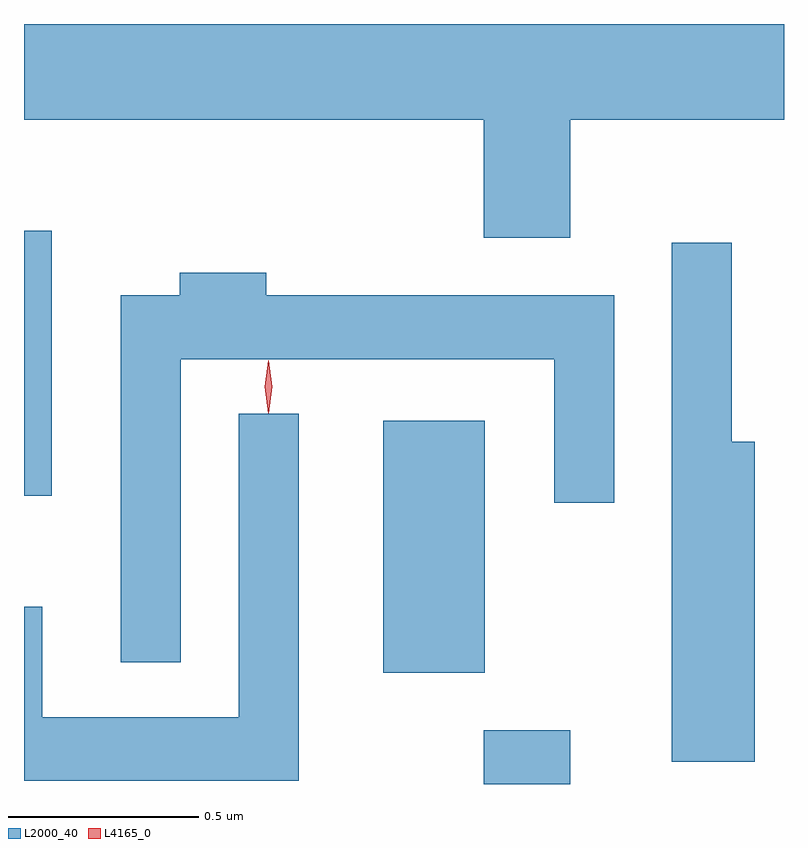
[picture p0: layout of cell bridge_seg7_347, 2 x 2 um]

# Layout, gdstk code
import gdstk
lib = gdstk.Library(unit=1e-6, precision=1e-09)
def R(c, l, rs):  # rectangles x0, y0, x1, y1
    for r in rs: c.add(gdstk.rectangle(r[:2], r[2:], *l))
def P(c, l, *ps):  # polygons
    for p in ps: c.add(gdstk.Polygon(p, *l))
L2000_40 = (2000, 40)
L4165_0 = (4165, 0)

bridge_seg7_347 = lib.new_cell('bridge_seg7_347')
R(bridge_seg7_347, L2000_40, [(1175.301,1759.188,1175.529,1759.329), (1175.036,1759.481,1175.304,1760.144), (1174.091,1759.946,1174.164,1760.644)])
P(bridge_seg7_347, L2000_40, [(1175.529,1760.936),(1176.091,1760.936),(1176.091,1761.188),(1174.091,1761.188),(1174.091,1760.936),(1175.301,1760.936),(1175.301,1760.626),(1175.529,1760.626)],
  [(1176.014,1760.089),(1175.954,1760.089),(1175.954,1760.613),(1175.796,1760.613),(1175.796,1759.246),(1176.014,1759.246)],
  [(1174.504,1760.306),(1175.486,1760.306),(1175.486,1759.928),(1175.644,1759.928),(1175.644,1760.474),(1174.729,1760.474),(1174.729,1760.534),(1174.501,1760.534),(1174.501,1760.474),(1174.346,1760.474),(1174.346,1759.508),(1174.504,1759.508)],
  [(1174.814,1760.163),(1174.656,1760.163),(1174.656,1759.364),(1174.139,1759.364),(1174.139,1759.654),(1174.091,1759.654),(1174.091,1759.196),(1174.814,1759.196)])
P(bridge_seg7_347, L4165_0, [(1174.734,1760.164),(1174.734,1760.164),(1174.724,1760.233),(1174.734,1760.302),(1174.734,1760.303),(1174.735,1760.302),(1174.744,1760.233),(1174.735,1760.164)],
  [(1174.734,1760.167),(1174.734,1760.167),(1174.724,1760.234),(1174.734,1760.3),(1174.734,1760.3),(1174.734,1760.3),(1174.744,1760.234),(1174.735,1760.167)])

lib.write_gds('bridge_seg7_347.gds')
